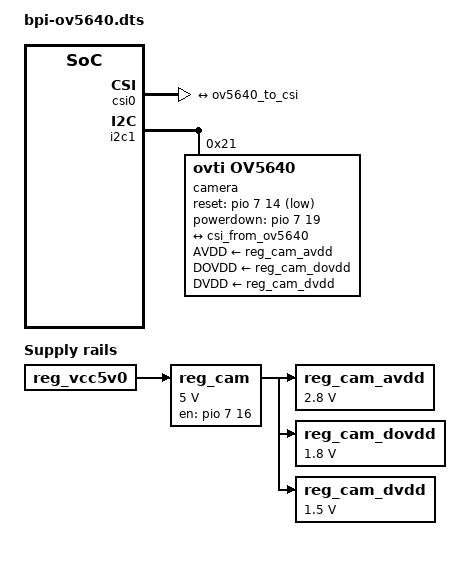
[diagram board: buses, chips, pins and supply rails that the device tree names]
/dts-v1/;
/plugin/;

#include <dt-bindings/gpio/gpio.h>

#include <dt-bindings/clock/sun7i-a20-ccu.h>

&{/aliases} {
	i2c0 = "/soc@01c00000/i2c@1c2ac00";
	i2c1 = "/soc@01c00000/i2c@1c2b000";
	i2c2 = "/soc@01c00000/i2c@1c2b400";
};

&{/} {
	reg_cam: cam {
		compatible = "regulator-fixed";
		regulator-name = "cam";
		regulator-min-microvolt = <5000000>;
		regulator-max-microvolt = <5000000>;
		vin-supply = <&reg_vcc5v0>;
		gpio = <&pio 7 16 GPIO_ACTIVE_HIGH>;
		enable-active-high;
		regulator-always-on;
	};

        reg_cam_avdd: cam-avdd {
                compatible = "regulator-fixed";
                regulator-name = "cam500b-avdd";
                regulator-min-microvolt = <2800000>;
                regulator-max-microvolt = <2800000>;
                vin-supply = <&reg_cam>;
        };

        reg_cam_dovdd: cam-dovdd {
                compatible = "regulator-fixed";
                regulator-name = "cam500b-dovdd";
                regulator-min-microvolt = <1800000>;
                regulator-max-microvolt = <1800000>;
                vin-supply = <&reg_cam>;
        };

        reg_cam_dvdd: cam-dvdd {
                compatible = "regulator-fixed";
                regulator-name = "cam500b-dvdd";
                regulator-min-microvolt = <1500000>;
                regulator-max-microvolt = <1500000>;
                vin-supply = <&reg_cam>;
        };
};

&csi0 {
	pinctrl-names = "default";
	pinctrl-0 = <&csi0_8bits_pins>;
	status = "okay";

	port {
		csi_from_ov5640: endpoint {
                        remote-endpoint = <&ov5640_to_csi>;
                        bus-width = <8>;
                        hsync-active = <1>; /* Active high */
                        vsync-active = <0>; /* Active low */
                        data-active = <1>;  /* Active high */
                        pclk-sample = <1>;  /* Rising */
                };
	};
};

&i2c1 {
	#address-cells = <1>;
	#size-cells = <0>;
	status = "okay";

	camera: camera@21 {
		compatible = "ovti,ov5640";
		reg = <0x21>;
		clocks = <&ccu CLK_CSI0>;
		clock-names = "xclk";
		assigned-clocks = <&ccu CLK_CSI0>;
		assigned-clock-rates = <24000000>;
		pinctrl-names = "default";
		pinctrl-0 = <&csi0_clk_pin>;

		reset-gpios = <&pio 7 14 GPIO_ACTIVE_LOW>;
		powerdown-gpios = <&pio 7 19 GPIO_ACTIVE_HIGH>;
		AVDD-supply = <&reg_cam_avdd>;
		DOVDD-supply = <&reg_cam_dovdd>;
		DVDD-supply = <&reg_cam_dvdd>;

		port {
			ov5640_to_csi: endpoint {
				remote-endpoint = <&csi_from_ov5640>;
				bus-width = <8>;
				hsync-active = <1>; /* Active high */
				vsync-active = <0>; /* Active low */
				data-active = <1>;  /* Active high */
				pclk-sample = <1>;  /* Rising */
			};
		};
	};
};
